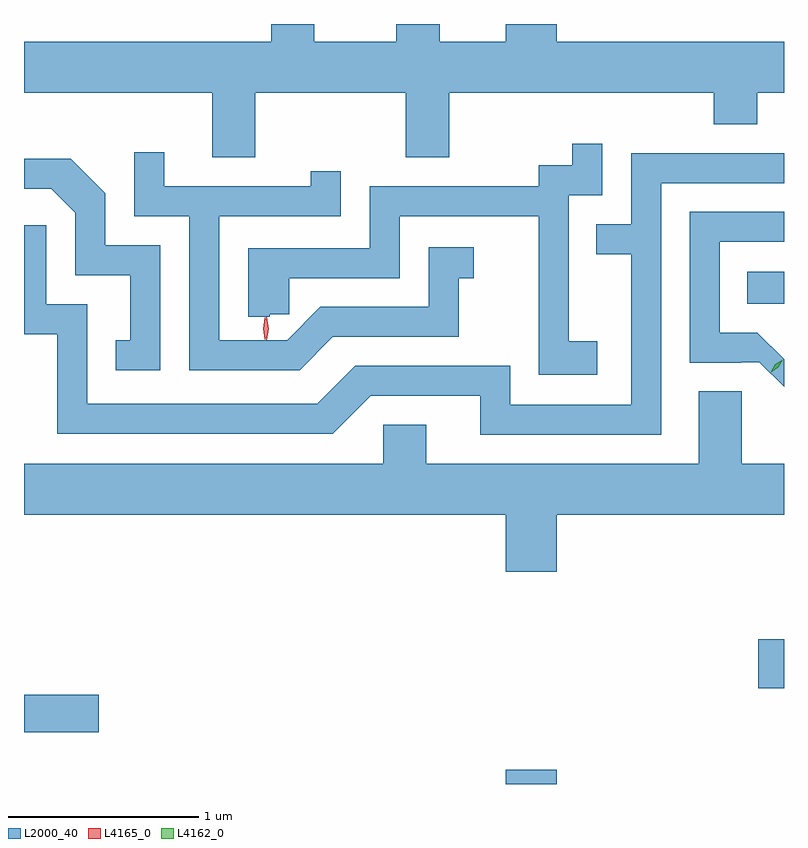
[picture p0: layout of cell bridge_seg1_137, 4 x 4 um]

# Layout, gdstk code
import gdstk
lib = gdstk.Library(unit=1e-6, precision=1e-09)
def R(c, l, rs):  # rectangles x0, y0, x1, y1
    for r in rs: c.add(gdstk.rectangle(r[:2], r[2:], *l))
def P(c, l, *ps):  # polygons
    for p in ps: c.add(gdstk.Polygon(p, *l))
L2000_40 = (2000, 40)
L4162_0 = (4162, 0)
L4165_0 = (4165, 0)

bridge_seg1_137 = lib.new_cell('bridge_seg1_137')
R(bridge_seg1_137, L2000_40, [(1393.896,867.078,1394.164,867.154), (1391.361,867.351,1391.754,867.549), (1395.226,867.581,1395.361,867.839), (1395.168,869.606,1395.361,869.774)])
P(bridge_seg1_137, L2000_40, [(1392.579,870.716),(1393.371,870.716),(1393.371,870.376),(1393.599,870.376),(1393.599,870.716),(1394.991,870.716),(1394.991,870.551),(1395.219,870.551),(1395.219,870.716),(1395.361,870.716),(1395.361,870.984),(1394.164,870.984),(1394.164,871.078),(1393.896,871.078),(1393.896,870.984),(1393.549,870.984),(1393.549,871.078),(1393.321,871.078),(1393.321,870.984),(1392.889,870.984),(1392.889,871.078),(1392.661,871.078),(1392.661,870.984),(1391.361,870.984),(1391.361,870.716),(1392.351,870.716),(1392.351,870.376),(1392.579,870.376)],
  [(1394.379,869.409),(1394.229,869.409),(1394.229,870.176),(1394.404,870.176),(1394.404,870.448),(1394.246,870.448),(1394.246,870.334),(1394.071,870.334),(1394.071,870.224),(1393.181,870.224),(1393.181,869.899),(1392.541,869.899),(1392.541,869.536),(1392.655,869.536),(1392.655,869.55),(1392.758,869.55),(1392.758,869.741),(1393.339,869.741),(1393.339,870.066),(1394.071,870.066),(1394.071,869.231),(1394.379,869.231)],
  [(1392.987,869.431),(1393.649,869.431),(1393.649,869.741),(1393.728,869.741),(1393.728,869.904),(1393.491,869.904),(1393.491,869.589),(1392.921,869.589),(1392.746,869.414),(1392.389,869.414),(1392.389,870.066),(1393.029,870.066),(1393.029,870.303),(1392.871,870.303),(1392.871,870.224),(1392.099,870.224),(1392.099,870.403),(1391.941,870.403),(1391.941,870.066),(1392.231,870.066),(1392.231,869.256),(1392.812,869.256)],
  [(1394.714,870.241),(1395.361,870.241),(1395.361,870.399),(1394.556,870.399),(1394.556,870.024),(1394.373,870.024),(1394.373,869.866),(1394.556,869.866),(1394.556,869.074),(1393.919,869.074),(1393.919,869.279),(1393.104,869.279),(1392.904,869.079),(1391.694,869.079),(1391.694,869.604),(1391.479,869.604),(1391.479,870.019),(1391.361,870.019),(1391.361,869.446),(1391.536,869.446),(1391.536,868.921),(1392.987,868.921),(1393.187,869.121),(1393.761,869.121),(1393.761,868.916),(1394.714,868.916)],
  [(1392.079,869.914),(1391.789,869.914),(1391.789,870.187),(1391.607,870.369),(1391.361,870.369),(1391.361,870.211),(1391.504,870.211),(1391.631,870.084),(1391.631,869.756),(1391.921,869.756),(1391.921,869.414),(1391.843,869.414),(1391.843,869.256),(1392.079,869.256)],
  [(1395.361,869.314),(1395.221,869.454),(1395.024,869.454),(1395.024,869.931),(1395.361,869.931),(1395.361,870.089),(1394.866,870.089),(1394.866,869.296),(1395.135,869.296),(1395.135,869.299),(1395.231,869.299),(1395.361,869.169)],
  [(1394.164,868.496),(1395.361,868.496),(1395.361,868.764),(1395.139,868.764),(1395.139,869.144),(1394.911,869.144),(1394.911,868.764),(1393.479,868.764),(1393.479,868.969),(1393.251,868.969),(1393.251,868.764),(1391.361,868.764),(1391.361,868.496),(1393.896,868.496),(1393.896,868.196),(1394.164,868.196)])
P(bridge_seg1_137, L4162_0, [(1395.292,869.245),(1395.292,869.246),(1395.316,869.286),(1395.354,869.312),(1395.354,869.312),(1395.354,869.311),(1395.331,869.272),(1395.293,869.245)])
P(bridge_seg1_137, L4165_0, [(1392.637,869.416),(1392.628,869.475),(1392.637,869.534),(1392.638,869.535),(1392.638,869.534),(1392.648,869.475),(1392.638,869.416),(1392.638,869.416)],
  [(1392.63,869.418),(1392.629,869.419),(1392.62,869.475),(1392.629,869.532),(1392.63,869.532),(1392.63,869.532),(1392.64,869.475),(1392.63,869.419)])

lib.write_gds('bridge_seg1_137.gds')
